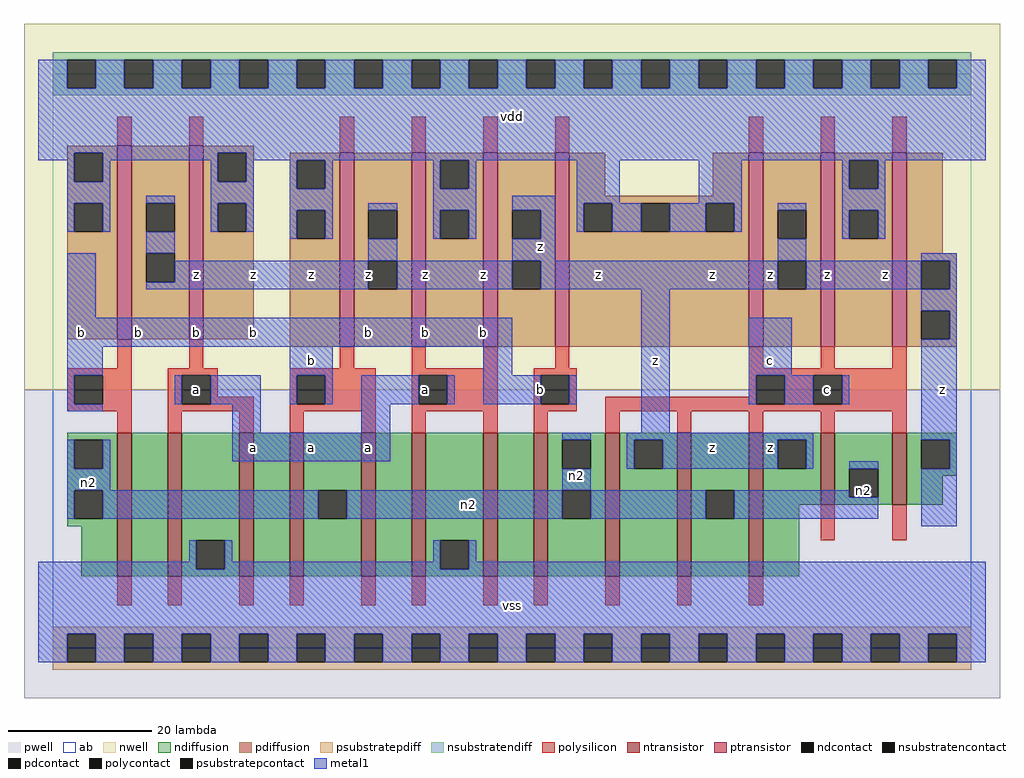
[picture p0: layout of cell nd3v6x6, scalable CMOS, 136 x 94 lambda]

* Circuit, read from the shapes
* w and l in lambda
.subckt nd3v6x6 a b c n2 vdd vss z
M1 n1 b n2 vss nfet w=20 l=2
M2 vss a n1 vss nfet w=20 l=2
M3 n3 a vss vss nfet w=20 l=2
M4 n2 b n3 vss nfet w=20 l=2
M5 n4 b n2 vss nfet w=20 l=2
M6 vss a n4 vss nfet w=20 l=2
M7 n5 a vss vss nfet w=20 l=2
M8 n2 b n5 vss nfet w=20 l=2
M9 z c n2 vss nfet w=20 l=2 m=3
M10 n2 c z vss nfet w=10 l=2 m=2
M11 z b vdd vdd pfet w=27 l=2 m=3
M12 vdd a z vdd pfet w=27 l=2 m=3
M13 z c vdd vdd pfet w=27 l=2 m=3
.ends

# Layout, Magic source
magic
tech scmos
<< ab >>
rect 0 0 128 80
<< pwell >>
rect -4 -7 132 36
<< nwell >>
rect -4 36 132 87
<< polysilicon >>
rect 9 70 11 74
rect 19 70 21 74
rect 40 69 42 74
rect 50 69 52 74
rect 60 69 62 74
rect 70 69 72 74
rect 97 69 99 74
rect 107 69 109 74
rect 117 69 119 74
rect 9 39 11 43
rect 19 39 21 43
rect 40 39 42 42
rect 50 39 52 42
rect 60 39 62 42
rect 70 39 72 42
rect 97 39 99 42
rect 107 39 109 42
rect 117 39 119 42
rect 2 38 11 39
rect 2 34 3 38
rect 7 34 11 38
rect 2 33 11 34
rect 9 30 11 33
rect 16 38 23 39
rect 16 34 18 38
rect 22 35 23 38
rect 33 38 45 39
rect 22 34 28 35
rect 16 33 28 34
rect 16 30 18 33
rect 26 30 28 33
rect 33 34 34 38
rect 38 34 45 38
rect 33 33 45 34
rect 33 30 35 33
rect 43 30 45 33
rect 50 38 62 39
rect 50 34 51 38
rect 55 34 62 38
rect 50 33 62 34
rect 50 30 52 33
rect 60 30 62 33
rect 67 38 73 39
rect 67 34 68 38
rect 72 34 73 38
rect 97 38 119 39
rect 97 35 98 38
rect 67 33 73 34
rect 77 34 98 35
rect 102 34 106 38
rect 110 34 119 38
rect 77 33 119 34
rect 67 30 69 33
rect 77 30 79 33
rect 87 30 89 33
rect 97 30 99 33
rect 107 30 109 33
rect 117 30 119 33
rect 107 15 109 20
rect 117 15 119 20
rect 9 6 11 10
rect 16 6 18 10
rect 26 6 28 10
rect 33 6 35 10
rect 43 6 45 10
rect 50 6 52 10
rect 60 6 62 10
rect 67 6 69 10
rect 77 6 79 10
rect 87 6 89 10
rect 97 6 99 10
<< ndiffusion >>
rect 2 29 9 30
rect 2 25 3 29
rect 7 25 9 29
rect 2 22 9 25
rect 2 18 3 22
rect 7 18 9 22
rect 2 17 9 18
rect 4 10 9 17
rect 11 10 16 30
rect 18 15 26 30
rect 18 11 20 15
rect 24 11 26 15
rect 18 10 26 11
rect 28 10 33 30
rect 35 22 43 30
rect 35 18 37 22
rect 41 18 43 22
rect 35 10 43 18
rect 45 10 50 30
rect 52 15 60 30
rect 52 11 54 15
rect 58 11 60 15
rect 52 10 60 11
rect 62 10 67 30
rect 69 29 77 30
rect 69 25 71 29
rect 75 25 77 29
rect 69 22 77 25
rect 69 18 71 22
rect 75 18 77 22
rect 69 10 77 18
rect 79 29 87 30
rect 79 25 81 29
rect 85 25 87 29
rect 79 10 87 25
rect 89 22 97 30
rect 89 18 91 22
rect 95 18 97 22
rect 89 10 97 18
rect 99 29 107 30
rect 99 25 101 29
rect 105 25 107 29
rect 99 20 107 25
rect 109 25 117 30
rect 109 21 111 25
rect 115 21 117 25
rect 109 20 117 21
rect 119 29 126 30
rect 119 25 121 29
rect 125 25 126 29
rect 119 24 126 25
rect 119 20 124 24
rect 99 10 104 20
<< pdiffusion >>
rect 2 69 9 70
rect 2 65 3 69
rect 7 65 9 69
rect 2 62 9 65
rect 2 58 3 62
rect 7 58 9 62
rect 2 43 9 58
rect 11 62 19 70
rect 11 58 13 62
rect 17 58 19 62
rect 11 55 19 58
rect 11 51 13 55
rect 17 51 19 55
rect 11 43 19 51
rect 21 69 28 70
rect 21 65 23 69
rect 27 65 28 69
rect 21 62 28 65
rect 21 58 23 62
rect 27 58 28 62
rect 21 43 28 58
rect 33 68 40 69
rect 33 64 34 68
rect 38 64 40 68
rect 33 61 40 64
rect 33 57 34 61
rect 38 57 40 61
rect 33 42 40 57
rect 42 61 50 69
rect 42 57 44 61
rect 48 57 50 61
rect 42 54 50 57
rect 42 50 44 54
rect 48 50 50 54
rect 42 42 50 50
rect 52 68 60 69
rect 52 64 54 68
rect 58 64 60 68
rect 52 61 60 64
rect 52 57 54 61
rect 58 57 60 61
rect 52 42 60 57
rect 62 61 70 69
rect 62 57 64 61
rect 68 57 70 61
rect 62 54 70 57
rect 62 50 64 54
rect 68 50 70 54
rect 62 42 70 50
rect 72 63 77 69
rect 92 63 97 69
rect 72 62 97 63
rect 72 58 74 62
rect 78 58 82 62
rect 86 58 91 62
rect 95 58 97 62
rect 72 42 97 58
rect 99 61 107 69
rect 99 57 101 61
rect 105 57 107 61
rect 99 54 107 57
rect 99 50 101 54
rect 105 50 107 54
rect 99 42 107 50
rect 109 68 117 69
rect 109 64 111 68
rect 115 64 117 68
rect 109 61 117 64
rect 109 57 111 61
rect 115 57 117 61
rect 109 42 117 57
rect 119 55 124 69
rect 119 54 126 55
rect 119 50 121 54
rect 125 50 126 54
rect 119 47 126 50
rect 119 43 121 47
rect 125 43 126 47
rect 119 42 126 43
<< metal1 >>
rect -2 78 2 82
rect 6 78 10 82
rect 14 78 18 82
rect 22 78 26 82
rect 30 78 34 82
rect 38 78 42 82
rect 46 78 50 82
rect 54 78 58 82
rect 62 78 66 82
rect 70 78 74 82
rect 78 78 82 82
rect 86 78 90 82
rect 94 78 98 82
rect 102 78 106 82
rect 110 78 114 82
rect 118 78 122 82
rect 126 78 130 82
rect -2 69 130 78
rect -2 68 3 69
rect 2 65 3 68
rect 7 68 23 69
rect 7 65 8 68
rect 2 62 8 65
rect 22 65 23 68
rect 27 68 130 69
rect 27 65 28 68
rect 2 58 3 62
rect 7 58 8 62
rect 13 62 17 63
rect 22 62 28 65
rect 22 58 23 62
rect 27 58 28 62
rect 33 64 34 68
rect 38 64 39 68
rect 33 61 39 64
rect 53 64 54 68
rect 58 64 59 68
rect 13 55 17 58
rect 33 57 34 61
rect 38 57 39 61
rect 44 61 48 62
rect 53 61 59 64
rect 53 57 54 61
rect 58 57 59 61
rect 64 61 70 63
rect 68 57 70 61
rect 73 62 79 68
rect 90 62 96 68
rect 110 64 111 68
rect 115 64 116 68
rect 73 58 74 62
rect 78 58 82 62
rect 86 58 91 62
rect 95 58 96 62
rect 101 61 105 62
rect 2 46 6 55
rect 44 54 48 57
rect 64 54 70 57
rect 110 61 116 64
rect 110 57 111 61
rect 115 57 116 61
rect 101 54 105 57
rect 121 54 126 55
rect 17 51 44 54
rect 13 50 44 51
rect 48 50 64 54
rect 68 50 101 54
rect 105 50 121 54
rect 125 50 126 54
rect 2 42 64 46
rect 2 38 7 42
rect 33 38 39 42
rect 60 38 64 42
rect 2 34 3 38
rect 17 34 18 38
rect 22 34 29 38
rect 33 34 34 38
rect 38 34 39 38
rect 43 34 51 38
rect 55 34 56 38
rect 60 34 68 38
rect 72 34 73 38
rect 2 33 7 34
rect 25 30 29 34
rect 43 30 47 34
rect 82 30 86 50
rect 121 47 126 50
rect 97 38 103 46
rect 125 43 126 47
rect 97 34 98 38
rect 102 34 106 38
rect 110 34 111 38
rect 2 25 3 29
rect 7 25 8 29
rect 25 26 47 30
rect 71 29 75 30
rect 2 22 8 25
rect 80 29 106 30
rect 80 25 81 29
rect 85 25 101 29
rect 105 25 106 29
rect 121 29 126 43
rect 111 25 115 26
rect 71 22 75 25
rect 2 18 3 22
rect 7 18 37 22
rect 41 18 71 22
rect 75 18 91 22
rect 95 21 111 22
rect 95 18 115 21
rect 125 25 126 29
rect 121 17 126 25
rect 19 12 20 15
rect -2 11 20 12
rect 24 12 25 15
rect 53 12 54 15
rect 24 11 54 12
rect 58 12 59 15
rect 58 11 130 12
rect -2 2 130 11
rect -2 -2 2 2
rect 6 -2 10 2
rect 14 -2 18 2
rect 22 -2 26 2
rect 30 -2 34 2
rect 38 -2 42 2
rect 46 -2 50 2
rect 54 -2 58 2
rect 62 -2 66 2
rect 70 -2 74 2
rect 78 -2 82 2
rect 86 -2 90 2
rect 94 -2 98 2
rect 102 -2 106 2
rect 110 -2 114 2
rect 118 -2 122 2
rect 126 -2 130 2
<< ntransistor >>
rect 9 10 11 30
rect 16 10 18 30
rect 26 10 28 30
rect 33 10 35 30
rect 43 10 45 30
rect 50 10 52 30
rect 60 10 62 30
rect 67 10 69 30
rect 77 10 79 30
rect 87 10 89 30
rect 97 10 99 30
rect 107 20 109 30
rect 117 20 119 30
<< ptransistor >>
rect 9 43 11 70
rect 19 43 21 70
rect 40 42 42 69
rect 50 42 52 69
rect 60 42 62 69
rect 70 42 72 69
rect 97 42 99 69
rect 107 42 109 69
rect 117 42 119 69
<< polycontact >>
rect 3 34 7 38
rect 18 34 22 38
rect 34 34 38 38
rect 51 34 55 38
rect 68 34 72 38
rect 98 34 102 38
rect 106 34 110 38
<< ndcontact >>
rect 3 25 7 29
rect 3 18 7 22
rect 20 11 24 15
rect 37 18 41 22
rect 54 11 58 15
rect 71 25 75 29
rect 71 18 75 22
rect 81 25 85 29
rect 91 18 95 22
rect 101 25 105 29
rect 111 21 115 25
rect 121 25 125 29
<< pdcontact >>
rect 3 65 7 69
rect 3 58 7 62
rect 13 58 17 62
rect 13 51 17 55
rect 23 65 27 69
rect 23 58 27 62
rect 34 64 38 68
rect 34 57 38 61
rect 44 57 48 61
rect 44 50 48 54
rect 54 64 58 68
rect 54 57 58 61
rect 64 57 68 61
rect 64 50 68 54
rect 74 58 78 62
rect 82 58 86 62
rect 91 58 95 62
rect 101 57 105 61
rect 101 50 105 54
rect 111 64 115 68
rect 111 57 115 61
rect 121 50 125 54
rect 121 43 125 47
<< psubstratepcontact >>
rect 2 -2 6 2
rect 10 -2 14 2
rect 18 -2 22 2
rect 26 -2 30 2
rect 34 -2 38 2
rect 42 -2 46 2
rect 50 -2 54 2
rect 58 -2 62 2
rect 66 -2 70 2
rect 74 -2 78 2
rect 82 -2 86 2
rect 90 -2 94 2
rect 98 -2 102 2
rect 106 -2 110 2
rect 114 -2 118 2
rect 122 -2 126 2
<< nsubstratencontact >>
rect 2 78 6 82
rect 10 78 14 82
rect 18 78 22 82
rect 26 78 30 82
rect 34 78 38 82
rect 42 78 46 82
rect 50 78 54 82
rect 58 78 62 82
rect 66 78 70 82
rect 74 78 78 82
rect 82 78 86 82
rect 90 78 94 82
rect 98 78 102 82
rect 106 78 110 82
rect 114 78 118 82
rect 122 78 126 82
<< psubstratepdiff >>
rect 0 2 128 3
rect 0 -2 2 2
rect 6 -2 10 2
rect 14 -2 18 2
rect 22 -2 26 2
rect 30 -2 34 2
rect 38 -2 42 2
rect 46 -2 50 2
rect 54 -2 58 2
rect 62 -2 66 2
rect 70 -2 74 2
rect 78 -2 82 2
rect 86 -2 90 2
rect 94 -2 98 2
rect 102 -2 106 2
rect 110 -2 114 2
rect 118 -2 122 2
rect 126 -2 128 2
rect 0 -3 128 -2
<< nsubstratendiff >>
rect 0 82 128 83
rect 0 78 2 82
rect 6 78 10 82
rect 14 78 18 82
rect 22 78 26 82
rect 30 78 34 82
rect 38 78 42 82
rect 46 78 50 82
rect 54 78 58 82
rect 62 78 66 82
rect 70 78 74 82
rect 78 78 82 82
rect 86 78 90 82
rect 94 78 98 82
rect 102 78 106 82
rect 110 78 114 82
rect 118 78 122 82
rect 126 78 128 82
rect 0 77 128 78
<< labels >>
rlabel metal1 5 23 5 23 6 n2
rlabel metal1 12 44 12 44 6 b
rlabel metal1 4 44 4 44 6 b
rlabel metal1 28 28 28 28 6 a
rlabel metal1 36 28 36 28 6 a
rlabel polycontact 20 36 20 36 6 a
rlabel metal1 28 44 28 44 6 b
rlabel metal1 36 40 36 40 6 b
rlabel metal1 20 44 20 44 6 b
rlabel metal1 20 52 20 52 6 z
rlabel metal1 28 52 28 52 6 z
rlabel metal1 36 52 36 52 6 z
rlabel metal1 44 28 44 28 6 a
rlabel polycontact 52 36 52 36 6 a
rlabel metal1 52 44 52 44 6 b
rlabel metal1 60 44 60 44 6 b
rlabel metal1 44 44 44 44 6 b
rlabel metal1 44 52 44 52 6 z
rlabel metal1 52 52 52 52 6 z
rlabel metal1 60 52 60 52 6 z
rlabel metal1 64 6 64 6 6 vss
rlabel metal1 73 24 73 24 6 n2
rlabel metal1 68 36 68 36 6 b
rlabel metal1 84 40 84 40 6 z
rlabel metal1 76 52 76 52 6 z
rlabel metal1 68 56 68 56 6 z
rlabel metal1 64 74 64 74 6 vdd
rlabel metal1 92 28 92 28 6 z
rlabel metal1 100 28 100 28 6 z
rlabel metal1 100 40 100 40 6 c
rlabel metal1 92 52 92 52 6 z
rlabel metal1 100 52 100 52 6 z
rlabel metal1 58 20 58 20 6 n2
rlabel ndcontact 113 22 113 22 6 n2
rlabel polycontact 108 36 108 36 6 c
rlabel metal1 124 36 124 36 6 z
rlabel metal1 108 52 108 52 6 z
rlabel metal1 116 52 116 52 6 z
<< end >>
